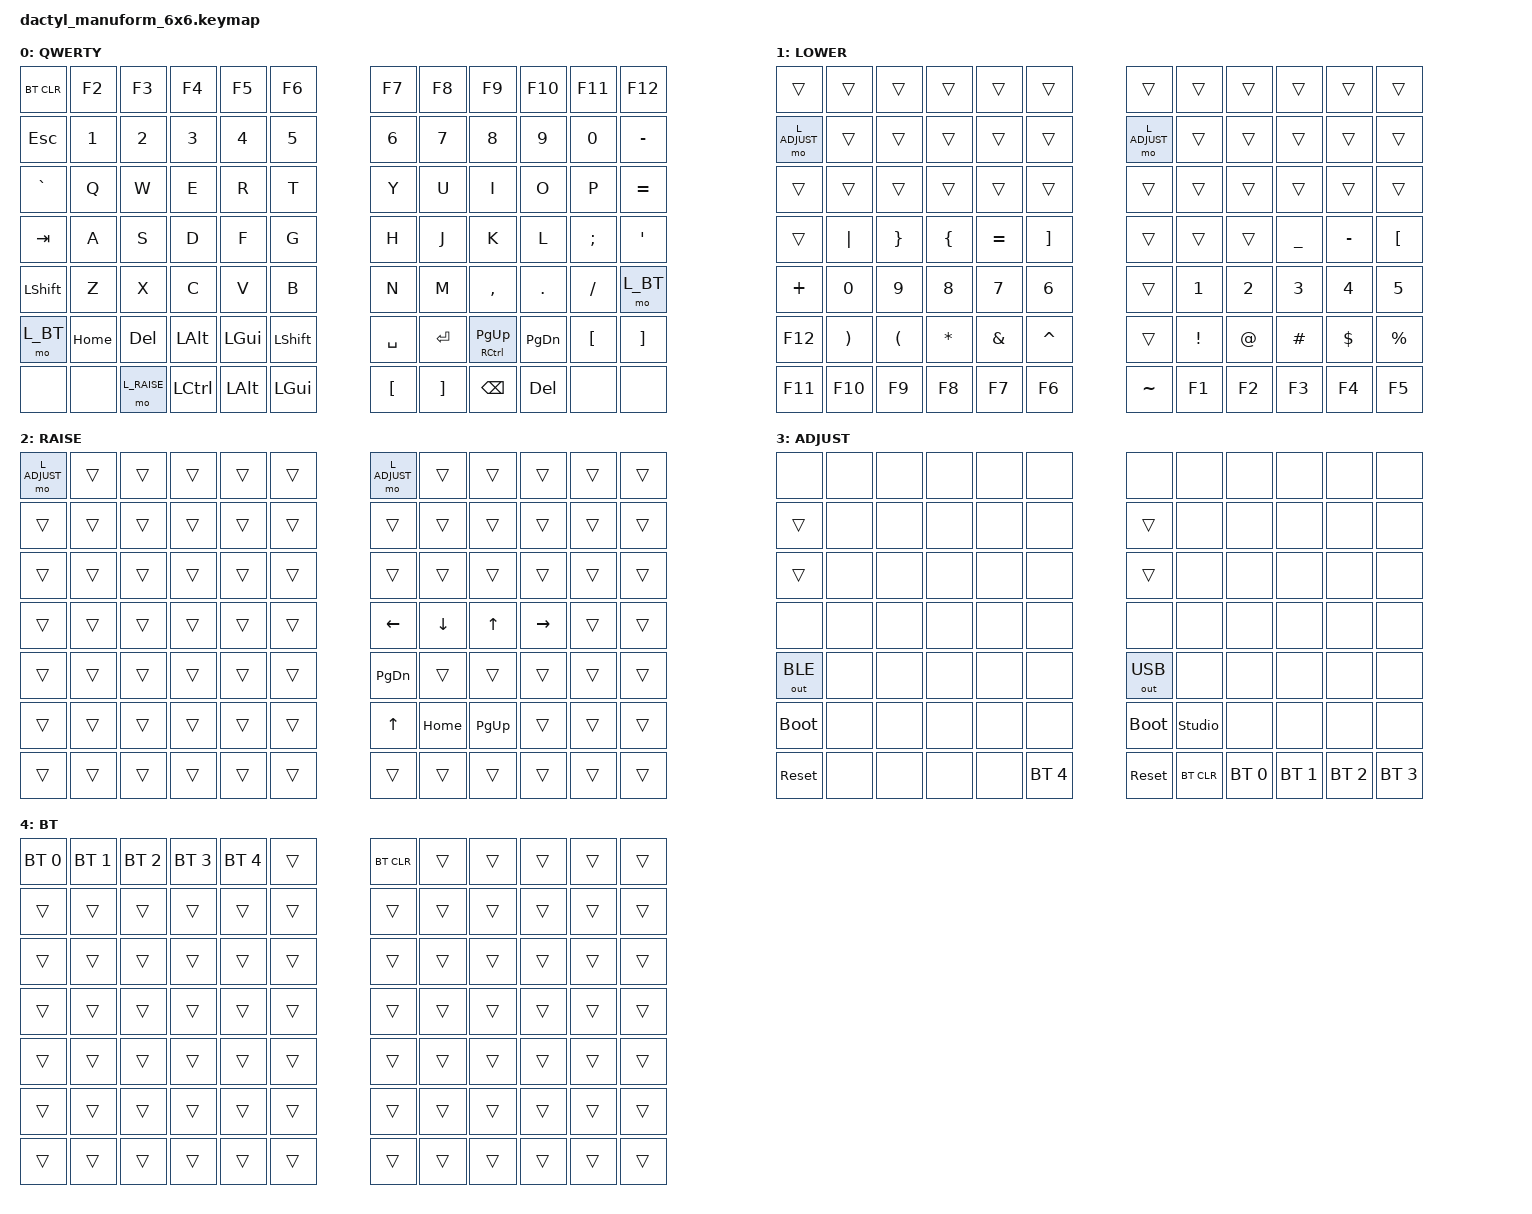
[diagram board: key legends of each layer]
/*
 * Keymap dla Dactyl Manuform 6x6 (7 wierszy × 6 kolumn per half)
 * ================================================================
 * Razem 84 klawisze (7 wierszy × 12 kolumn logicznych)
 *
 * Fizyczny układ wierszy:
 *   Row 0 – D10 – rząd cyfr
 *   Row 1 – D16 – litery górne (Q W E R T ...)
 *   Row 2 – D14 – litery środkowe (A S D F G ...)
 *   Row 3 – D15 – litery dolne (Z X C V B ...)
 *   Row 4 – D19 – modyfikatory + Backspace/Space
 *   Row 5 – D20 – klaster kciuka górny
 *   Row 6 – D21 – klaster kciuka dolny
 *
 * Warstwy:
 *   0 – QWERTY (podstawowahjklkjhynnhu)
 *   1 – LOWER  (symbole, F1–F12)
 *   2 – RAISE  (nawigacja, media)
 *   3 – ADJUST (Bluetooth, reset)
 *   4 – BT     (wybór profilu BT)
 *
 * UWAGA: Wiersze 5 i 6 (klaster kciuka) mają &none na pozycjach
 * bez fizycznego klawisza. Dostosuj do swojego budowania.
 */

#include <behaviors.dtsi>
#include <dt-bindings/zmk/keys.h>
#include <dt-bindings/zmk/bt.h>
#include <dt-bindings/zmk/outputs.h>

#define L_BASE   0
#define L_LOWER  1
#define L_RAISE  2
#define L_ADJUST 3
#define L_BT     4

/ {
    keymap {
        compatible = "zmk,keymap";

        /* ══════════════════════════════════════════════════════════════════
         * WARSTWA 0 – QWERTY
         * ══════════════════════════════════════════════════════════════════
         *
         * Row↑=D21 … Row↓=D10  (Row 6 = fizyczny TOP, Row 0 = fizyczny BOT/kciuk)
         *
         *      ── LEWA (outer→inner) ──────────────────────────── PRAWA (inner→outer) ──
         * ┌──────┬──────┬──────┬──────┬──────┬──────┐   ┌──────┬──────┬──────┬──────┬──────┬──────┐
         * │  F1  │  F2  │  F3  │  F4  │  F5  │  F6  │   │  F7  │  F8  │  F9  │  F10 │  F11 │  F12 │ Row6 D21↑ TOP
         * ├──────┼──────┼──────┼──────┼──────┼──────┤   ├──────┼──────┼──────┼──────┼──────┼──────┤
         * │ Esc  │  1   │  2   │  3   │  4   │  5   │   │  6   │  7   │  8   │  9   │  0   │  -   │ Row5 D20
         * ├──────┼──────┼──────┼──────┼──────┼──────┤   ├──────┼──────┼──────┼──────┼──────┼──────┤
         * │  `   │  Q   │  W   │  E   │  R   │  T   │   │  Y │  U   │  I   │  O   │  P   │  =   │ Row4 D19
         * ├──────┼──────┼──────┼──────┼──────┼──────┤   ├──────┼──────┼──────┼──────┼──────┼──────┤
         * │ Tab  │  A   │  S   │  D   │  F   │  G   │   │  H   │  J   │  K   │  L   │  ;   │  '   │ Row3 D15
         * ├──────┼──────┼──────┼──────┼──────┼──────┤   ├──────┼──────┼──────┼──────┼──────┼──────┤
         * │LShft │  Z   │  X   │  C   │  V   │  B   │   │  N   │  M   │  ,   │  .   │  /   │RShft │ Row2 D14
         * ├──────┼──────┼──────┼──────┼──────┼──────┤   ├──────┼──────┼──────┼──────┼──────┼──────┤
         * │             │ Del  │ LAlt │ LGUI │ Ret  │   │ Spc  |  ret │^PgUp │ PgDn │  [   │  ]   │ Row1 D16 kciuk↑
         * ├──────┼──────┼──────┼──────┼──────┼──────┤   ├──────┼──────┼──────┼──────┼──────┼──────┤
         * │      │      │ ---- │ ------ LAlt │ LGUI │   │ LAlt │LCTRL │RAISE │ Ent  │      │      │ Row0 D10↓ kciuk↓
         * └──────┴──────┴──────┴──────┴──────┴──────┘   └──────┴──────┴──────┴──────┴──────┴──────┘
         */
        default_layer {
            label = "QWERTY";
            bindings = <
/* Row0 kciuk dół   */ &kp LBKT  &kp RBKT  &kp BSPC  &kp DEL   &none    &none      &kp LGUI  &kp LALT  &kp LCTRL &mo L_RAISE &none    &none
/* Row1 kciuk górny */ &kp SPACE &kp RET &mt RCTRL PG_UP &kp PG_DN  &kp LBKT &kp RBKT   &kp LSHIFT   &kp LGUI &kp LALT  &kp DEL   &kp HOME &mo L_BT
/* Row2 N/B-rząd    */ &kp N     &kp M     &kp COMMA &kp DOT   &kp FSLH &mo L_BT  &kp B     &kp V     &kp C     &kp X     &kp Z    &kp LSHFT
/* Row3 H/G-rząd    */ &kp H     &kp J     &kp K     &kp L     &kp SEMI &kp SQT    &kp G     &kp F     &kp D     &kp S     &kp A    &kp TAB
/* Row4 Y/T-rząd    */ &kp Y     &kp U     &kp I     &kp O     &kp P    &kp EQUAL  &kp T     &kp R     &kp E     &kp W     &kp Q    &kp GRAVE
/* Row5 cyfry        */ &kp N6    &kp N7    &kp N8    &kp N9    &kp N0   &kp MINUS  &kp N5    &kp N4    &kp N3    &kp N2    &kp N1   &kp ESC
/* Row6 F-rząd (TOP)*/ &kp F7    &kp F8    &kp F9    &kp F10   &kp F11  &kp F12    &kp F6    &kp F5    &kp F4    &kp F3    &kp F2   &bt BT_CLR
            >;
        };

        /* ══════════════════════════════════════════════════════════════════
         * WARSTWA 1 – LOWER (symbole, F1–F12)
         * ══════════════════════════════════════════════════════════════════
         */
        lower_layer {
            label = "LOWER";
            bindings = <
                &kp TILDE   &kp F1    &kp F2    &kp F3    &kp F4     &kp F5        &kp F6    &kp F7    &kp F8    &kp F9    &kp F10   &kp F11
                &trans      &kp EXCL  &kp AT    &kp HASH  &kp DLLR   &kp PRCNT     &kp CARET &kp AMPS  &kp STAR  &kp LPAR  &kp RPAR  &kp F12
                &trans      &kp N1    &kp N2    &kp N3    &kp N4     &kp N5        &kp N6    &kp N7    &kp N8    &kp N9    &kp N0    &kp PLUS
                &trans      &trans    &trans    &kp UNDER &kp MINUS  &kp LBKT      &kp RBKT  &kp EQUAL &kp LBRC  &kp RBRC  &kp PIPE  &trans
                &trans      &trans    &trans    &trans    &trans     &trans        &trans    &trans    &trans    &trans    &trans    &trans
                &mo L_ADJUST &trans  &trans    &trans    &trans     &trans        &trans    &trans    &trans    &trans    &trans    &mo L_ADJUST
                &trans      &trans    &trans    &trans    &trans     &trans        &trans    &trans    &trans    &trans    &trans    &trans
            >;
        };

        /* ══════════════════════════════════════════════════════════════════
         * WARSTWA 2 – RAISE (nawigacja, media)
         * ══════════════════════════════════════════════════════════════════
         */
        raise_layer {
            label = "RAISE";
            bindings = <
                &trans   &trans   &trans   &trans   &trans   &trans     &trans    &trans    &trans    &trans    &trans    &trans
                &kp UP   &kp HOME   &kp PG_UP &trans  &trans   &trans     &trans    &trans    &trans    &trans    &trans    &trans
                &kp PG_DN &trans  &trans   &trans   &trans   &trans     &trans    &trans    &trans    &trans    &trans    &trans
                &kp LEFT &kp DOWN &kp UP   &kp RIGHT &trans  &trans     &trans    &trans    &trans    &trans    &trans    &trans
                &trans   &trans   &trans   &trans   &trans   &trans     &trans    &trans    &trans    &trans    &trans    &trans
                &trans   &trans   &trans   &trans   &trans   &trans     &trans    &trans    &trans    &trans    &trans    &trans
                &mo L_ADJUST &trans &trans &trans   &trans   &trans     &trans    &trans    &trans    &trans    &trans    &mo L_ADJUST
            >;
        };

        /* ══════════════════════════════════════════════════════════════════
         * WARSTWA 3 – ADJUST (Bluetooth, reset)
         * Aktywacja: trzymaj LOWER + RAISE jednocześnie
         * studio_unlock: Row1 pos1 (kciuk górny, drugi od środka prawej ręki)
         * ══════════════════════════════════════════════════════════════════
         */
        adjust_layer {
            label = "ADJUST";
            bindings = <
                &sys_reset  &bt BT_CLR   &bt BT_SEL 0 &bt BT_SEL 1 &bt BT_SEL 2 &bt BT_SEL 3    &bt BT_SEL 4 &none  &none  &none  &none  &sys_reset
                &bootloader &studio_unlock &none      &none        &none        &none           &none        &none  &none  &none  &none  &bootloader
                &out OUT_USB &none       &none        &none        &none        &none           &none        &none  &none  &none  &none  &out OUT_BLE
                &none       &none        &none        &none        &none        &none           &none        &none  &none  &none  &none  &none
                &trans      &none        &none        &none        &none        &none           &none        &none  &none  &none  &none  &trans
                &trans      &none        &none        &none        &none        &none           &none        &none  &none  &none  &none  &trans
                &none       &none        &none        &none        &none        &none           &none        &none  &none  &none  &none  &none
            >;
        };
        /* ══════════════════════════════════════════════════════════════════
         * WARSTWA 4 – BT (wybór profilu Bluetooth)
         * Aktywacja: przytrzymaj klawisz END (lewy outer kciuk górny)
         * F1=profil0, F2=profil1, F3=profil2, F4=profil3, F5=profil4
         * ══════════════════════════════════════════════════════════════════
         */
        bt_layer {
            label = "BT";
            bindings = <
                &trans  &trans  &trans  &trans  &trans  &trans    &trans  &trans  &trans  &trans  &trans  &trans
                &trans  &trans  &trans  &trans  &trans  &trans    &trans  &trans  &trans  &trans  &trans  &trans
                &trans  &trans  &trans  &trans  &trans  &trans    &trans  &trans  &trans  &trans  &trans  &trans
                &trans  &trans  &trans  &trans  &trans  &trans    &trans  &trans  &trans  &trans  &trans  &trans
                &trans  &trans  &trans  &trans  &trans  &trans    &trans  &trans  &trans  &trans  &trans  &trans
                &trans  &trans  &trans  &trans  &trans  &trans    &trans  &trans  &trans  &trans  &trans  &trans
                &bt BT_CLR  &trans  &trans  &trans  &trans  &trans    &trans  &bt BT_SEL 4 &bt BT_SEL 3 &bt BT_SEL 2 &bt BT_SEL 1 &bt BT_SEL 0
            >;
        };
    };
};
